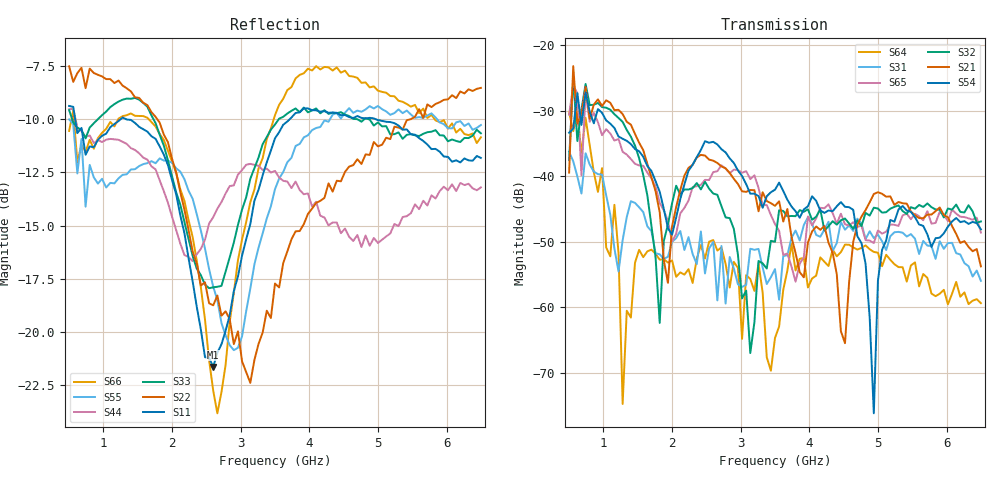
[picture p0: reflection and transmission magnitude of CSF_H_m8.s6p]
!Keysight Technologies,M9804A,MY58100912,A.14.10.03
!Date: Thursday, April 27, 2023 10:28:33
!Correction: S11(C  6-Port  )
!S12(C  6-Port  )
!S13(C  6-Port  )
!S14(C  6-Port  )
!S15(C  6-Port  )
!S16(C  6-Port  )
!S21(C  6-Port  )
!S22(C  6-Port  )
!S23(C  6-Port  )
!S24(C  6-Port  )
!S25(C  6-Port  )
!S26(C  6-Port  )
!S31(C  6-Port  )
!S32(C  6-Port  )
!S33(C  6-Port  )
!S34(C  6-Port  )
!S35(C  6-Port  )
!S36(C  6-Port  )
!S41(C  6-Port  )
!S42(C  6-Port  )
!S43(C  6-Port  )
!S44(C  6-Port  )
!S45(C  6-Port  )
!S46(C  6-Port  )
!S51(C  6-Port  )
!S52(C  6-Port  )
!S53(C  6-Port  )
!S54(C  6-Port  )
!S55(C  6-Port  )
!S56(C  6-Port  )
!S61(C  6-Port  )
!S62(C  6-Port  )
!S63(C  6-Port  )
!S64(C  6-Port  )
!S65(C  6-Port  )
!S66(C  6-Port  )
!S6P File: Measurement: :
# Hz S  RI  R 50
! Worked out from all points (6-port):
!   101 points, 500 MHz to 6.5 GHz, reference 50 ohm
!   strongest paths, dB at 500 MHz, 2 GHz, 3.5 GHz, 5 GHz, 6.5 GHz:
!     S54: -33.3, -48.9, -42.0, -55.9, -48.1
!     S21: -39.4, -47.6, -44.5, -42.4, -53.7
!     S32: -37.5, -44.1, -50.0, -44.9, -46.9
!     S65: -30.6, -50.0, -47.3, -48.3, -48.6
!     S31: -36.3, -50.0, -54.2, -48.9, -55.9
!     S64: -30.2, -52.8, -64.7, -51.7, -59.3
!   lowest |S11| = -21.6 dB at 2.6 GHz (marker M1), VSWR 1.18, Z = 42.6 + j2 ohm
!   |S11| at or under -10 dB: 588.5 MHz to 1.249 GHz (660.5 MHz wide, 71.9 % of centre); 1.335 GHz to 3.712 GHz (2.378 GHz wide, 94.2 % of centre); 4.972 GHz to end of sweep
